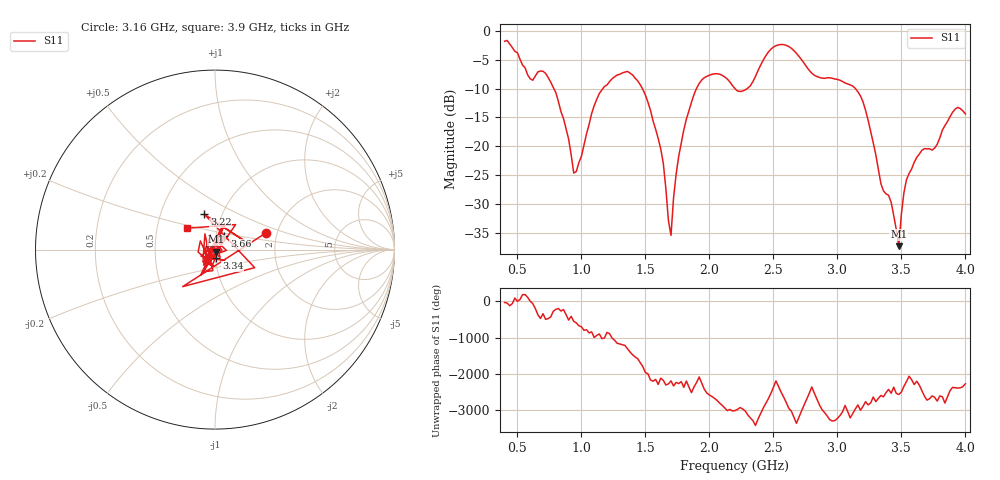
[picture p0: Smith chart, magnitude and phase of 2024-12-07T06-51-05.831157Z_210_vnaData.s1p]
!Created with skrf (http://scikit-rf.org).
# Hz S RI R 50.0
!freq ReS11 ImS11
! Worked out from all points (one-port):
!   181 points, 400 MHz to 4 GHz, reference 50 ohm
!   lowest |S11| = -37.3 dB at 3.48 GHz (marker M1), VSWR 1.03, Z = 50.8 - j1.12 ohm
!   |S11| at or under -10 dB: 784.8 MHz to 1.167 GHz (382.5 MHz wide, 39.2 % of centre); 1.477 GHz to 1.899 GHz (421.7 MHz wide, 25 % of centre); 3.141 GHz to end of sweep (the widest 3 of 4)
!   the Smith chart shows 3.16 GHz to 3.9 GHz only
!   S11 on the Smith chart (normalised r, x): 3.16 GHz: 1.74, +0.35; 3.22 GHz: 0.83, +0.34; 3.34 GHz: 1.01, -0.09; 3.66 GHz: 1.10, +0.17; 3.9 GHz: 0.71, +0.18
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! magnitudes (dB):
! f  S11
! 400 MHz  -1.8
! 600 MHz  -8.3
! 720 MHz  -7.3
! 860 MHz  -15.2
! 960 MHz  -24.4
! 1.14 GHz  -10.8
! 1.3 GHz  -7.5
! 1.52 GHz  -12.4
! 1.64 GHz  -23.0
! 1.7 GHz  -35.4
! 1.76 GHz  -21.8
! 1.94 GHz  -8.5
! 2.2 GHz  -10.0
! 2.32 GHz  -9.5
! 2.5 GHz  -2.8
! 2.66 GHz  -3.4
! 3.1 GHz  -9.3
! 3.16 GHz  -10.6
! 3.22 GHz  -13.7
! 3.34 GHz  -26.5
! 3.42 GHz  -29.7
! 3.48 GHz  -37.3
! 3.52 GHz  -28.0
! 3.56 GHz  -24.7
! 3.66 GHz  -20.7
! 3.76 GHz  -20.3
! 3.9 GHz  -14.1
! 4 GHz  -14.4
